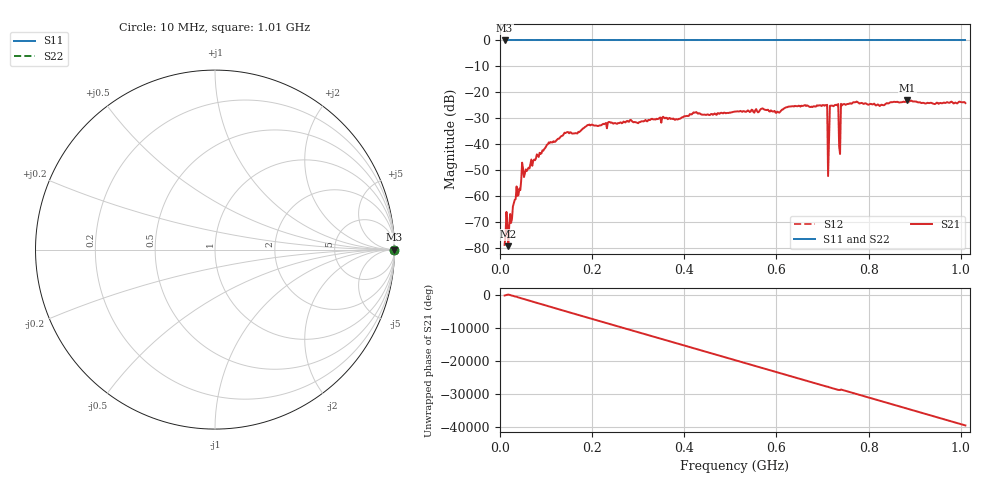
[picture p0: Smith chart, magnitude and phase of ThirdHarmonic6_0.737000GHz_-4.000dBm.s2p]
! 8/16/2025 12:39:11 AM
! C:\ANRITSUVNA\TEMP\TEMP.S2P
! CHANNEL.1
! TR.MEASUREMENT
! RAW.DATA
! RF.CORRECTION.OFF
! AVERAGING.OFF
! IF.BANDWIDTH: 5KHZ
! SWEEPTYPE:  FREQ.SWEEP(Linear)
! Reference Plane Port Info
! PORT:  PORT1  PORT2
! DISTANCE:  0  m  0  m
! TIME:  0  s  0  s
! PHASE.OFFSET:  0  deg.  0  deg.
! LOSS:  0  dB  0  dB
! REF.LOSS:  0  dB  0  dB
! REF.FREQ:  0  Hz  0  Hz
! Power Info
! POWER:  -20  dBm  -20  dBm
! EFF.POWER:  -20  dBm  -20  dBm
! SOURCE.ATTEN:  0  dB  0  dB
! TEST.ATTEN:  0  dB  0  dB
# GHZ S RI R 50.0
! FREQ.GHZ  S11RE  S11IM  S21RE  S21IM  S12RE  S12IM  S22RE  S22IM
!; PortSelection: Port_12
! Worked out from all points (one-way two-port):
!   501 points, 10 MHz to 1.01 GHz, reference 50 ohm
!   highest |S21| = -23.01 dB at 884 MHz (marker M1); lowest = -79.2 dB at 18 MHz (marker M2)
!   lowest |S11| = 0.0 dB at 10 MHz (marker M3)
!   |S11| at or under -10 dB: nowhere
!   |S22| runs from 0.0 to 0.0 dB; largest |S21 - S12| = 1.1
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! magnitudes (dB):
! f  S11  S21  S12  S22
! 10 MHz  0.0  -78.7  0.0  0.0
! 18 MHz  0.0  -79.2  0.0  0.0
! 22 MHz  0.0  -66.8  0.0  0.0
! 32 MHz  0.0  -61.4  0.0  0.0
! 42 MHz  0.0  -57.0  0.0  0.0
! 52 MHz  0.0  -52.6  0.0  0.0
! 106 MHz  0.0  -39.2  0.0  0.0
! 178 MHz  0.0  -34.2  0.0  0.0
! 344 MHz  0.0  -30.1  0.0  0.0
! 510 MHz  0.0  -27.4  0.0  0.0
! 678 MHz  0.0  -25.6  0.0  0.0
! 706 MHz  0.0  -24.9  0.0  0.0
! 710 MHz  0.0  -24.8  0.0  0.0
! 716 MHz  0.0  -25.2  0.0  0.0
! 720 MHz  0.0  -25.1  0.0  0.0
! 730 MHz  0.0  -24.7  0.0  0.0
! 734 MHz  0.0  -24.5  0.0  0.0
! 740 MHz  0.0  -24.4  0.0  0.0
! 744 MHz  0.0  -24.6  0.0  0.0
! 844 MHz  0.0  -24.2  0.0  0.0
! 884 MHz  0.0  -23.0  0.0  0.0
! 1.01 GHz  0.0  -24.1  0.0  0.0
